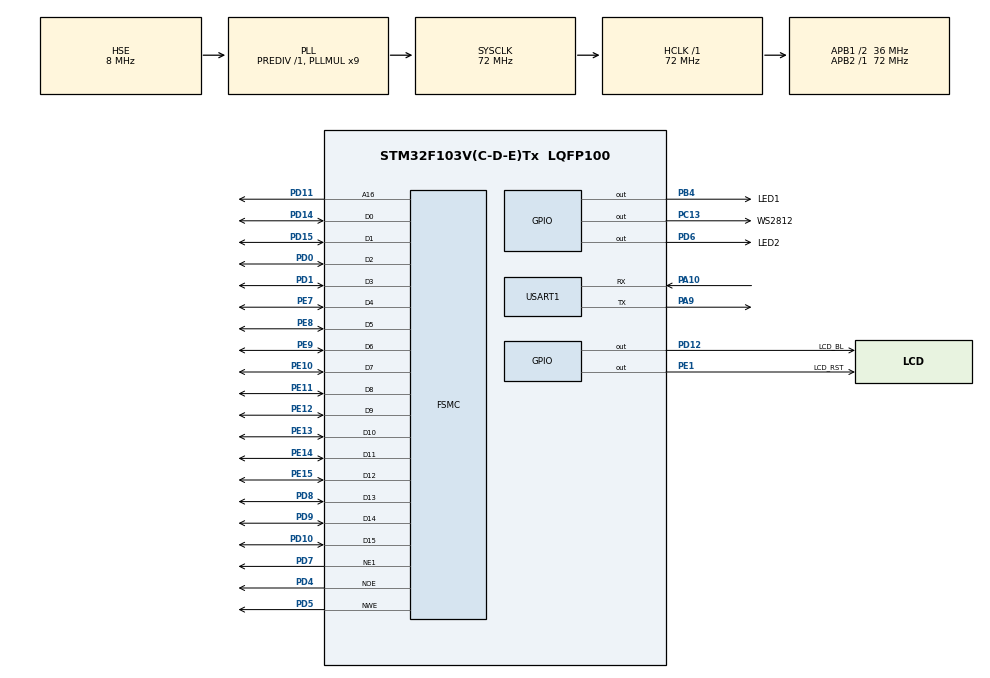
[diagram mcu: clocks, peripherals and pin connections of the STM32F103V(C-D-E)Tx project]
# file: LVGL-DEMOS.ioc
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Mcu.Family=STM32F1
Mcu.Name=STM32F103V(C-D-E)Tx
Mcu.Package=LQFP100
NVIC.PriorityGroup=NVIC_PRIORITYGROUP_4
NVIC.TIM2_IRQn=true\:0\:0\:false\:false\:true\:true\:true\:true
NVIC.USART1_IRQn=true\:0\:0\:false\:false\:true\:true\:true\:true
OSC_IN.Mode=HSE-External-Oscillator
OSC_IN.Signal=RCC_OSC_IN
OSC_OUT.Mode=HSE-External-Oscillator
OSC_OUT.Signal=RCC_OSC_OUT
PA10.Mode=Asynchronous
PA10.Signal=USART1_RX
PA13.Mode=Serial_Wire
PA13.Signal=SYS_JTMS-SWDIO
PA14.Mode=Serial_Wire
PA14.Signal=SYS_JTCK-SWCLK
PA9.Mode=Asynchronous
PA9.Signal=USART1_TX
PB4.GPIO_Label=LED1
PB4.GPIO_Speed=GPIO_SPEED_FREQ_HIGH
PB4.PinState=GPIO_PIN_SET
PB4.Signal=GPIO_Output
PC13-TAMPER-RTC.GPIO_Label=WS2812
PC13-TAMPER-RTC.GPIO_PuPd=GPIO_PULLUP
PC13-TAMPER-RTC.GPIO_Speed=GPIO_SPEED_FREQ_HIGH
PC13-TAMPER-RTC.PinState=GPIO_PIN_RESET
PC13-TAMPER-RTC.Signal=GPIO_Output
PC14-OSC32_IN.Mode=LSE-External-Oscillator
PC14-OSC32_IN.Signal=RCC_OSC32_IN
PC15-OSC32_OUT.Mode=LSE-External-Oscillator
PC15-OSC32_OUT.Signal=RCC_OSC32_OUT
PD0.Mode=16b-d1
PD0.Signal=FSMC_D2
PD1.Mode=16b-d1
PD1.Signal=FSMC_D3
PD10.Mode=16b-d1
PD10.Signal=FSMC_D15
PD11.Mode=A16_1
PD11.Signal=FSMC_A16
PD12.GPIO_Label=LCD_BL
PD12.GPIO_ModeDefaultOutputPP=GPIO_MODE_OUTPUT_PP
PD12.GPIO_PuPd=GPIO_PULLUP
PD12.GPIO_Speed=GPIO_SPEED_FREQ_HIGH
PD12.PinState=GPIO_PIN_RESET
PD12.Signal=GPIO_Output
PD14.Mode=16b-d1
PD14.Signal=FSMC_D0
PD15.Mode=16b-d1
PD15.Signal=FSMC_D1
PD4.Mode=Lcd1
PD4.Signal=FSMC_NOE
PD5.Mode=Lcd1
PD5.Signal=FSMC_NWE
PD6.GPIO_Label=LED2
PD6.GPIO_ModeDefaultOutputPP=GPIO_MODE_OUTPUT_PP
PD6.GPIO_Speed=GPIO_SPEED_FREQ_HIGH
PD6.PinState=GPIO_PIN_SET
PD6.Signal=GPIO_Output
PD7.Mode=NorPsramChipSelect1_1
PD7.Signal=FSMC_NE1
PD8.Mode=16b-d1
PD8.Signal=FSMC_D13
PD9.Mode=16b-d1
PD9.Signal=FSMC_D14
PE1.GPIO_Label=LCD_RST
PE1.GPIO_ModeDefaultOutputPP=GPIO_MODE_OUTPUT_PP
PE1.GPIO_PuPd=GPIO_PULLUP
PE1.GPIO_Speed=GPIO_SPEED_FREQ_HIGH
PE1.PinState=GPIO_PIN_SET
PE1.Signal=GPIO_Output
PE10.Mode=16b-d1
PE10.Signal=FSMC_D7
PE11.Mode=16b-d1
PE11.Signal=FSMC_D8
PE12.Mode=16b-d1
PE12.Signal=FSMC_D9
PE13.Mode=16b-d1
PE13.Signal=FSMC_D10
PE14.Mode=16b-d1
PE14.Signal=FSMC_D11
PE15.Mode=16b-d1
PE15.Signal=FSMC_D12
PE7.Mode=16b-d1
PE7.Signal=FSMC_D4
PE8.Mode=16b-d1
PE8.Signal=FSMC_D5
PE9.Mode=16b-d1
PE9.Signal=FSMC_D6
ProjectManager.HeapSize=0x1000
ProjectManager.StackSize=0x1000
ProjectManager.TargetToolchain=MDK-ARM V5.32
RCC.AHBFreq_Value=72000000
RCC.APB1CLKDivider=RCC_HCLK_DIV2
RCC.APB1Freq_Value=36000000
RCC.APB1TimFreq_Value=72000000
RCC.APB2Freq_Value=72000000
RCC.APB2TimFreq_Value=72000000
RCC.HCLKFreq_Value=72000000
RCC.PLLMUL=RCC_PLL_MUL9
RCC.PLLSourceVirtual=RCC_PLLSOURCE_HSE
RCC.SYSCLKFreq_VALUE=72000000
RCC.SYSCLKSource=RCC_SYSCLKSOURCE_PLLCLK
RCC.USBFreq_Value=48000000
RCC.USBPrescaler=RCC_USBCLKSOURCE_PLL_DIV1_5
TIM2.AutoReloadPreload=TIM_AUTORELOAD_PRELOAD_ENABLE
TIM2.Period=999
TIM2.Prescaler=71
USART1.VirtualMode=VM_ASYNC
VP_TIM2_VS_ClockSourceINT.Mode=Internal
board=custom

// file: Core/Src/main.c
/* USER CODE BEGIN Header */
/**
  ******************************************************************************
  * @file           : main.c
  * @brief          : Main program body
  ******************************************************************************
  * @attention
  *
  * Copyright (c) 2024 STMicroelectronics.
  * All rights reserved.
  *
  * This software is licensed under terms that can be found in the LICENSE file
  * in the root directory of this software component.
  * If no LICENSE file comes with this software, it is provided AS-IS.
  *
  ******************************************************************************
  */
/* USER CODE END Header */
#include "main.h"
#include "tim.h"
#include "usart.h"
#include "gpio.h"
#include "fsmc.h"

/* USER CODE BEGIN Includes */
#include "stdio.h"
#include "my_lvgl_app.h"
//#include "bsp_xpt2046_lcd.h"
#include "bsp_rgb.h"
#include "lcd_driver.h"
/* USER CODE END Includes */

void SystemClock_Config(void);

/* USER CODE BEGIN 0 */
void my_print(lv_log_level_t level, const char * buf);
void my_lvgl_app(void)
{
//	lv_ex_label_1();
	//lv_example_get_started_2();
	 lv_example_anim_1();
	//lv_line_test_start();
	//my_lvgl_nebula();
	//my_lvgl_pages();
	//my_lvgl_rgb();
	//ry_test();//ry_test
}
/* USER CODE END 0 */

int main(void)
{

  /* MCU Configuration--------------------------------------------------------*/

  /* Reset of all peripherals, Initializes the Flash interface and the Systick. */
  HAL_Init();

  /* Configure the system clock */
  SystemClock_Config();

  /* Initialize all configured peripherals */
  MX_GPIO_Init();
  MX_USART1_UART_Init();
  MX_FSMC_Init();
  MX_TIM2_Init();
  /* USER CODE BEGIN 2 */
	HAL_TIM_Base_Start_IT(&htim2);
	lv_init();
	lv_port_disp_init();
	lv_port_indev_init();
	lv_log_register_print_cb(my_print);

	//my_lvgl_app();
  /* USER CODE END 2 */

  /* Infinite loop */
  while (1)
  {

    /* USER CODE BEGIN 3 */
		lv_timer_handler();
		HAL_Delay(1);
		//XPT2046_TouchEvenHandler();
  }
  /* USER CODE END 3 */
}

void SystemClock_Config(void)
{
  RCC_OscInitTypeDef RCC_OscInitStruct = {0};
  RCC_ClkInitTypeDef RCC_ClkInitStruct = {0};

  /** Initializes the RCC Oscillators according to the specified parameters
  * in the RCC_OscInitTypeDef structure.
  */
  RCC_OscInitStruct.OscillatorType = RCC_OSCILLATORTYPE_HSE;
  RCC_OscInitStruct.HSEState = RCC_HSE_ON;
  RCC_OscInitStruct.HSEPredivValue = RCC_HSE_PREDIV_DIV1;
  RCC_OscInitStruct.HSIState = RCC_HSI_ON;
  RCC_OscInitStruct.PLL.PLLState = RCC_PLL_ON;
  RCC_OscInitStruct.PLL.PLLSource = RCC_PLLSOURCE_HSE;
  RCC_OscInitStruct.PLL.PLLMUL = RCC_PLL_MUL9;
  if (HAL_RCC_OscConfig(&RCC_OscInitStruct) != HAL_OK)
  {
    Error_Handler();
  }

  /** Initializes the CPU, AHB and APB buses clocks
  */
  RCC_ClkInitStruct.ClockType = RCC_CLOCKTYPE_HCLK|RCC_CLOCKTYPE_SYSCLK
                              |RCC_CLOCKTYPE_PCLK1|RCC_CLOCKTYPE_PCLK2;
  RCC_ClkInitStruct.SYSCLKSource = RCC_SYSCLKSOURCE_PLLCLK;
  RCC_ClkInitStruct.AHBCLKDivider = RCC_SYSCLK_DIV1;
  RCC_ClkInitStruct.APB1CLKDivider = RCC_HCLK_DIV2;
  RCC_ClkInitStruct.APB2CLKDivider = RCC_HCLK_DIV1;

  if (HAL_RCC_ClockConfig(&RCC_ClkInitStruct, FLASH_LATENCY_2) != HAL_OK)
  {
    Error_Handler();
  }
}

/* USER CODE BEGIN 4 */
void HAL_TIM_PeriodElapsedCallback(TIM_HandleTypeDef *htim)
{
	HAL_GPIO_TogglePin(LED2_GPIO_Port,LED2_Pin);
	static uint16_t i = 0;
	if (htim->Instance == htim2.Instance)
	{
		i++;
		if(i == 500)
		{
			i=0;
			HAL_GPIO_TogglePin(LED1_GPIO_Port,LED1_Pin);
			//printf("tim2 update\r\n");
		}
		//lv_tick_inc(1);
	}
}
#ifdef __GNUC__
#define PUTCHAR_PROTOTYPE int __io_putchar(int ch)
#else
#define PUTCHAR_PROTOTYPE int fputc(int ch,FILE *f)
#endif /* __GNUC__ */

//重定向printf函数
PUTCHAR_PROTOTYPE
{
    HAL_UART_Transmit(&huart1,(uint8_t *)&ch,1,0xFFFF);//输出指向串口USART1
    return ch;
}

void my_print(lv_log_level_t level, const char * buf)
{
	//printf("%s",buf);
	uint16_t length;
	length  = lv_strlen(buf);
	HAL_UART_Transmit(&huart1,(uint8_t *)buf,length,0xFFFF);//输出指向串口USART1
}
/* USER CODE END 4 */

void Error_Handler(void)
{
  __disable_irq();
  while (1)
  {
  }
}
